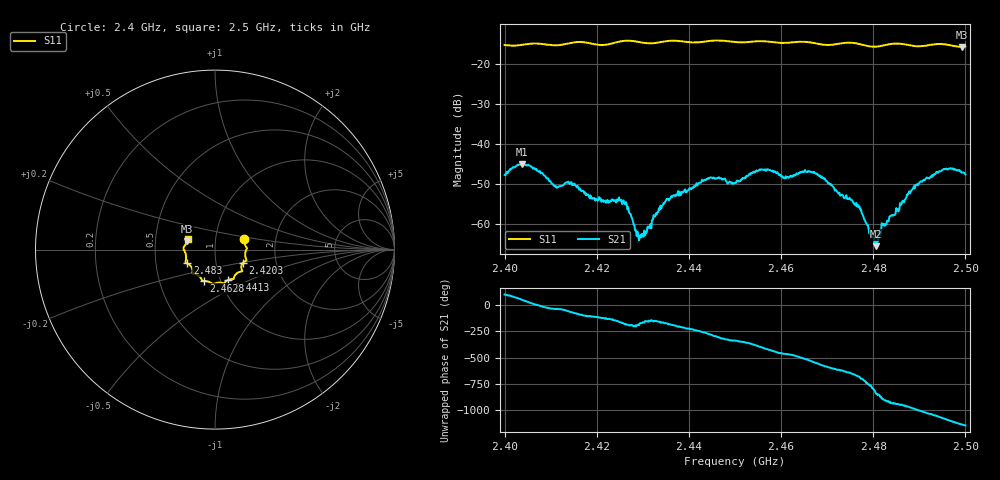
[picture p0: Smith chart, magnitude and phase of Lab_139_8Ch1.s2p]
# Hz S RI R 50
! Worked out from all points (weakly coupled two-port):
!   601 points, 2.4 GHz to 2.5 GHz, reference 50 ohm
!   highest |S21| = -45.02 dB at 2.4038 GHz (marker M1); lowest = -65.6 dB at 2.4807 GHz (marker M2)
!   lowest |S11| = -15.8 dB at 2.4992 GHz (marker M3), VSWR 1.39, Z = 36.4 + j3.55 ohm
!   |S11| at or under -10 dB: start of sweep to end of sweep
!   S12 and S22 are empty: the file has one direction only
!   S11 on the Smith chart (normalised r, x): 2.4 GHz: 1.37, +0.16; 2.4203 GHz: 1.35, -0.21; 2.4413 GHz: 1.09, -0.38; 2.4628 GHz: 0.83, -0.30; 2.483 GHz: 0.72, -0.11; 2.5 GHz: 0.73, +0.09
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2.4e9  0.1611 0.0571  -0.00046 0.00407  0 0  0 0
2.403833e9  0.1712 0.019  0.00392 0.00401  0 0  0 0
2.411167e9  0.168 -0.0228  0.00223 -0.00192  0 0  0 0
2.416667e9  0.1759 -0.0615  -0.000376 -0.00252  0 0  0 0
2.420333e9  0.1552 -0.0743  -0.000925 -0.00173  0 0  0 0
2.425833e9  0.1515 -0.1185  -0.00196 -0.000102  0 0  0 0
2.4295e9  0.1371 -0.1245  -0.000721 -8.33e-05  0 0  0 0
2.433333e9  0.108 -0.1486  -0.00132 -0.00049  0 0  0 0
2.441333e9  0.0746 -0.1682  -0.00143 0.00255  0 0  0 0
2.445e9  0.0523 -0.1863  0.00115 0.00359  0 0  0 0
2.45e9  0.0291 -0.1837  0.00303 0.00116  0 0  0 0
2.455667e9  -0.0107 -0.1908  0.00354 -0.00323  0 0  0 0
2.462833e9  -0.063 -0.1747  -0.00203 -0.00344  0 0  0 0
2.466667e9  -0.0743 -0.1675  -0.00445 -0.000313  0 0  0 0
2.476833e9  -0.1246 -0.1255  0.00123 0.00104  0 0  0 0
2.480667e9  -0.136 -0.0904  -0.000304 -0.00043  0 0  0 0
2.483e9  -0.1547 -0.0767  -0.00104 0.000326  0 0  0 0
2.483333e9  -0.157 -0.0755  -0.00104 0.000269  0 0  0 0
2.4905e9  -0.1636 -0.0226  0.00116 0.00316  0 0  0 0
2.4955e9  -0.1741 0.0137  0.00483 -3.91e-05  0 0  0 0
2.499167e9  -0.1551 0.0475  0.00268 -0.00344  0 0  0 0
2.5e9  -0.1527 0.0585  0.00184 -0.0037  0 0  0 0
